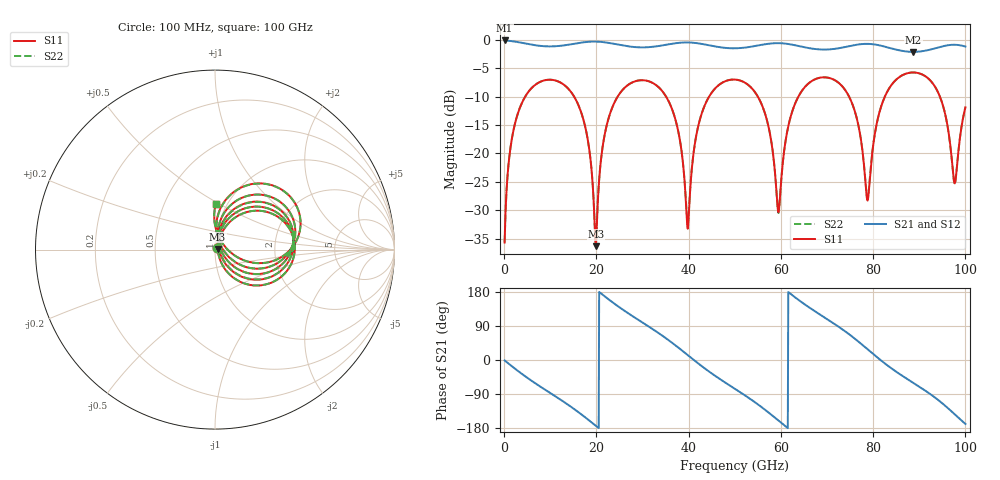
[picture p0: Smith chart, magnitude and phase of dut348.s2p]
! Touchstone file exported from HFSS 2026.1.0
!  File:  C:/ffzhzh/LocalFiles/Ansys_Project_Files/temp_train_TSV_RDL_348_1783707971_45164.aedt
!  Generated:  02:34:37 AM Jul 11, 2026
!  Design:  TSV_RDL
!  Project:  temp_train_TSV_RDL_348_1783707971_45164
! Variables:
!  h_bsmrdl = 2.8um
!  h_ox = 20um
!  h_rdl = 5um
!  h_sub = 87.12um
!  h_tmrdl = 2.3um
!  h_tsv = 87.12um
!  h_via = 3um
!  l_bsmrdl = 484.81um
!  l_sub = 2800.86um
!  l_tmrdl = 197.09um
!  m_sub = 200um
!  pitch = 50.81um
!  r_tsv = 8.21um
!  s_tmrdl = 10um
!  w_bsmrdl = 29.48um
!  w_sub = 500um
!  w_tmrdl = 23.21um
!  x_tsv_center1 = 208.695um
!  x_tsv_center2 = 722.985um
!  x_tsv_center3 = 943.285um
!  x_tsv_center4 = 1457.575um
!  x_tsv_center5 = 1677.875um
!  x_tsv_center6 = 2192.165um
# GHz S MA R 50.000000
! Terminal data exported
! Port[1] = TM_RDL1_1_T1
! Port[2] = TM_RDL5_1_T1
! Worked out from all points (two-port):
!   1000 points, 100 MHz to 100 GHz, reference 50 ohm
!   highest |S21| = -0.12 dB at 100 MHz (marker M1); lowest = -2.1 dB at 88.7 GHz (marker M2)
!   |S21| within 3 dB of the highest: start of sweep to end of sweep
!   lowest |S11| = -36.3 dB at 19.9 GHz (marker M3), VSWR 1.03, Z = 51.5 + j0.436 ohm
!   |S11| at or under -10 dB: 15.16 GHz to 24.62 GHz (9.454 GHz wide, 47.5 % of centre); 35.1 GHz to 44.44 GHz (9.34 GHz wide, 23.5 % of centre); 54.99 GHz to 63.8 GHz (8.802 GHz wide, 14.8 % of centre) (the widest 3 of 6)
!   |S22| runs from -36.0 to -5.8 dB; largest |S21 - S12| = 5e-14
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0.1  0.0164 32.8  0.9863 -1.0  0.9863 -1.0  0.0164 32.8
! Gamma 0 0 0 0
! Port Impedance 50 0 50 0
1.7  0.1364 65.4  0.972 -16.7  0.972 -16.7  0.1364 65.4
5  0.3368 39.8  0.9211 -46.9  0.9211 -46.9  0.3368 39.8
16.8  0.2232 -52.5  0.9453 -144.1  0.9453 -144.1  0.2232 -52.4
19.9  0.01523 16.2  0.9641 -173.8  0.9641 -173.8  0.01589 16.0
23.9  0.2793 54.7  0.9199 148.6  0.9199 148.6  0.2794 54.7
33.4  0.3851 -17.9  0.8802 71.7  0.8802 71.7  0.3852 -17.7
37.4  0.1804 -48.7  0.9349 36.2  0.9349 36.2  0.1806 -48.0
39.8  0.0217 13.7  0.9474 13.0  0.9474 13.0  0.02422 13.7
43.1  0.241 66.0  0.9159 -18.6  0.9159 -18.6  0.2414 65.4
50.1  0.4461 12.8  0.8416 -76.6  0.8416 -76.6  0.4463 12.6
56.2  0.2472 -33.0  0.9086 -127.9  0.9086 -127.9  0.2474 -33.2
59.5  0.03037 24.8  0.934 -160.0  0.934 -160.0  0.02983 24.5
62.1  0.2091 76.1  0.911 174.5  0.911 174.5  0.2089 76.1
66.7  0.4335 41.8  0.8366 134.1  0.8366 134.1  0.4334 41.8
74.8  0.3149 -17.9  0.8784 67.9  0.8784 67.9  0.3151 -17.8
78.8  0.03842 30.4  0.9206 28.3  0.9206 28.3  0.03966 29.9
83.4  0.3694 68.0  0.8511 -17.0  0.8511 -17.0  0.3692 67.7
88.7  0.5154 29.3  0.7826 -60.3  0.7826 -60.3  0.5152 29.2
94.4  0.3215 -11.8  0.8618 -108.4  0.8618 -108.4  0.3212 -12.0
97.6  0.05518 26.5  0.904 -142.3  0.904 -142.3  0.05454 26.5
100  0.2544 88.9  0.8713 -168.7  0.8713 -168.7  0.2545 89.0
